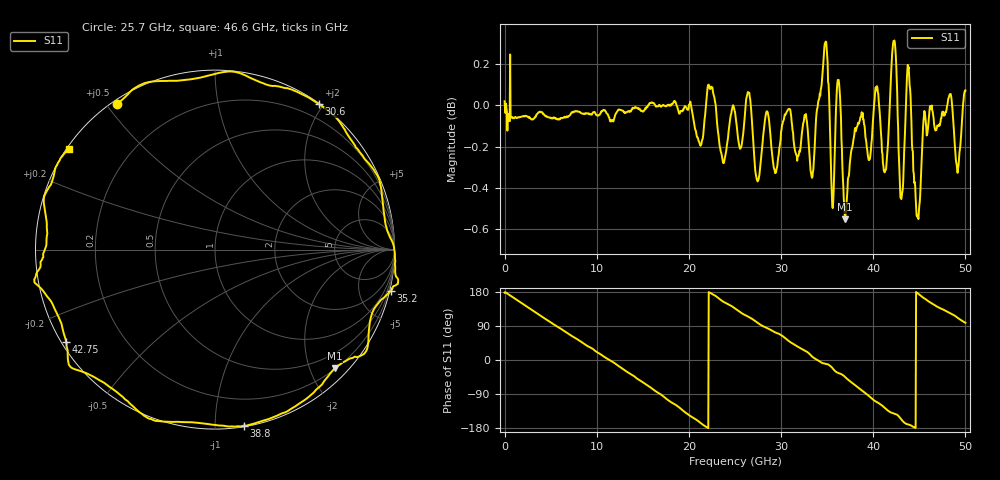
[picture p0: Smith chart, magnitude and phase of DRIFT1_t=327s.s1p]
!Created with skrf (http://scikit-rf.org).
# Hz S RI R 50.0
!freq ReS11 ImS11
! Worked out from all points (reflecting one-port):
!   1001 points, 300 kHz to 50 GHz, reference 50 ohm
!   lowest |S11| = -0.6 dB at 36.95 GHz (marker M1), VSWR 31.34, Z = 10.9 - j121 ohm
!   phase of S11 starts at 178 deg and turns -799 deg over the sweep
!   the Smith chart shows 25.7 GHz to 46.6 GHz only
!   S11 on the Smith chart (normalised r, x): 25.7 GHz: 0.01, +0.53; 30.6 GHz: 0.01, +1.95; 35.2 GHz: -0.25, -8.69; 38.8 GHz: 0.01, -1.18; 42.75 GHz: 0.01, -0.29; 46.6 GHz: 0.01, +0.31
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300000  -1.001 0.0408
1.75029e9  -0.8744 0.4719
3.650278e9  -0.5092 0.856
6.250262e9  0.1722 0.9779
7.950252e9  0.5892 0.8038
9.850241e9  0.9134 0.3961
1.250022e10  0.9477 -0.3116
1.59002e10  0.2806 -0.9615
1.875019e10  -0.522 -0.8518
2.015018e10  -0.849 -0.5325
2.205017e10  -1.011 -0.0161
2.500015e10  -0.7212 0.6876
2.570015e10  -0.5442 0.8121
2.835013e10  0.0756 0.9923
3.060012e10  0.5807 0.8096
3.125011e10  0.7165 0.6771
3.38501e10  0.9955 0.0217
3.520009e10  0.9804 -0.2284
3.605008e10  0.8505 -0.5423
3.695008e10  0.666 -0.6608
3.750008e10  0.5373 -0.8077
3.880007e10  0.1609 -0.9805
4.045006e10  -0.3775 -0.9369
4.195005e10  -0.7672 -0.6711
4.275004e10  -0.8279 -0.5162
4.375004e10  -1.007 -0.1809
4.660002e10  -0.8161 0.5601
5e10  -0.1459 0.9978
